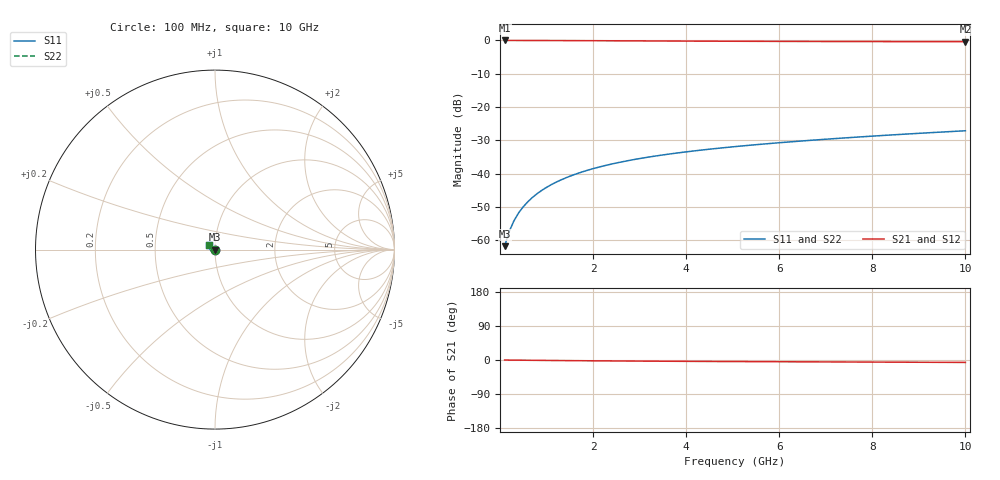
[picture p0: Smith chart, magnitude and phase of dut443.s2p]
! Touchstone file exported from HFSS 2024.1.0
!  File:  C:/UserFiles/LocalFiles/RDL_TSV_Batchsim/temp_TSV1_443_1779695433.aedt
!  Generated:  03:59:01 PM May 25, 2026
!  Design:  TSV1
!  Project:  temp_TSV1_443_1779695433
!  Setup:  Setup1
!  Solution:  Sweep
! Variables:
!  dtsv = 5.45um
!  hbump = 3um
!  htsv = 97.17um
!  lrdl = 252.1521522um
!  p = 40
!  p1 = 47.79um
!  t = 500um
!  trdl = 3um
!  wrdl = 24.89489489um
# GHz S MA R 50.000000
! Terminal data exported
! Port[1] = TSV22_T1
! Port[2] = TSV22_T2
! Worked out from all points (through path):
!   100 points, 100 MHz to 10 GHz, reference 50 ohm
!   highest |S21| = 0.00 dB at 100 MHz (marker M1); lowest = -0.4 dB at 10 GHz (marker M2)
!   lowest |S11| = -61.7 dB at 100 MHz (marker M3), VSWR 1.00, Z = 50.1 - j0.0643 ohm
!   |S11| at or under -10 dB: start of sweep to end of sweep
!   |S22| runs from -61.7 to -27.1 dB; largest |S21 - S12| = 6.2e-15
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0.1  0.0008216 -51.4  0.9994 -0.1  0.9994 -0.1  0.0008216 -51.4
! Gamma 0 0 0 0
! Port Impedance 50 0 50 0
0.2  0.001371 -71.1  0.9993 -0.2  0.9993 -0.2  0.001371 -71.1
0.3  0.00197 -80.6  0.9992 -0.3  0.9992 -0.3  0.00197 -80.6
0.4  0.002583 -86.7  0.999 -0.5  0.999 -0.5  0.002583 -86.7
0.5  0.0032 -91.2  0.9988 -0.6  0.9988 -0.6  0.0032 -91.2
0.6  0.003817 -95.0  0.9985 -0.7  0.9985 -0.7  0.003817 -95.0
0.7  0.004432 -98.4  0.9982 -0.8  0.9982 -0.8  0.004432 -98.4
0.8  0.005044 -101.4  0.9979 -0.9  0.9979 -0.9  0.005044 -101.4
0.9  0.005652 -104.2  0.9975 -1.0  0.9975 -1.0  0.005652 -104.2
1.1  0.006853 -109.4  0.9966 -1.2  0.9966 -1.2  0.006853 -109.4
1.4  0.00861 -116.6  0.995 -1.5  0.995 -1.5  0.00861 -116.6
1.6  0.009748 -121.1  0.9938 -1.7  0.9938 -1.7  0.009748 -121.1
1.8  0.01086 -125.4  0.9925 -1.9  0.9925 -1.9  0.01086 -125.4
2.1  0.01247 -131.5  0.9905 -2.2  0.9905 -2.2  0.01247 -131.5
2.5  0.01451 -139.1  0.9877 -2.5  0.9877 -2.5  0.01451 -139.1
2.9  0.01645 -146.2  0.9849 -2.8  0.9849 -2.8  0.01645 -146.2
3.4  0.01874 -154.4  0.9815 -3.2  0.9815 -3.2  0.01874 -154.4
4.2  0.02216 -165.9  0.9766 -3.6  0.9766 -3.6  0.02216 -165.9
5.1  0.02577 -177.1  0.9718 -4.1  0.9718 -4.1  0.02576 -177.1
6.7  0.03187 167.0  0.9654 -4.9  0.9654 -4.9  0.03187 167.0
8.4  0.03821 154.0  0.9606 -5.7  0.9606 -5.7  0.03821 154.0
10  0.04418 144.5  0.9573 -6.4  0.9573 -6.4  0.04418 144.5
